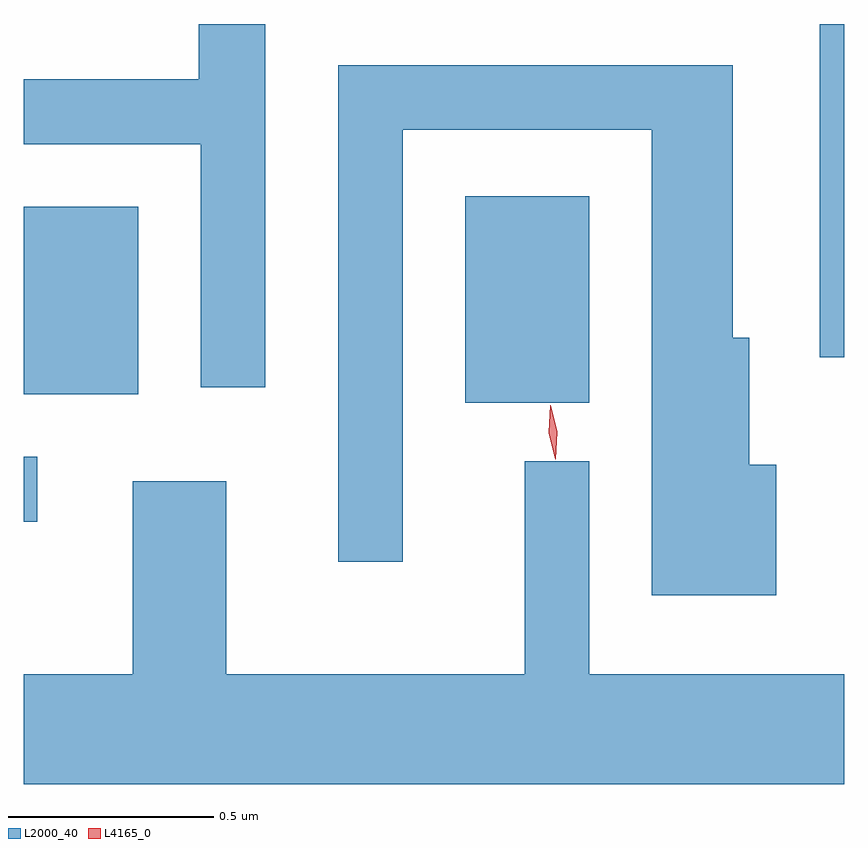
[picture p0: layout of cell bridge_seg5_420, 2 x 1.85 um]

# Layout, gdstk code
import gdstk
lib = gdstk.Library(unit=1e-6, precision=1e-09)
def R(c, l, rs):  # rectangles x0, y0, x1, y1
    for r in rs: c.add(gdstk.rectangle(r[:2], r[2:], *l))
def P(c, l, *ps):  # polygons
    for p in ps: c.add(gdstk.Polygon(p, *l))
L2000_40 = (2000, 40)
L4165_0 = (4165, 0)

bridge_seg5_420 = lib.new_cell('bridge_seg5_420')
R(bridge_seg5_420, L2000_40, [(506.435,1481.856,506.468,1482.014), (507.511,1482.146,507.814,1482.649), (506.435,1482.166,506.714,1482.624), (508.376,1482.256,508.435,1483.069)])
P(bridge_seg5_420, L2000_40, [(507.024,1483.069),(506.861,1483.069),(506.861,1482.934),(506.435,1482.934),(506.435,1482.776),(506.866,1482.776),(506.866,1482.183),(507.024,1482.183)],
  [(508.269,1481.994),(508.204,1481.994),(508.204,1482.304),(508.164,1482.304),(508.164,1482.969),(507.201,1482.969),(507.201,1481.758),(507.359,1481.758),(507.359,1482.811),(507.966,1482.811),(507.966,1481.676),(508.269,1481.676)],
  [(508.435,1481.484),(507.814,1481.484),(507.814,1482.003),(507.656,1482.003),(507.656,1481.484),(506.929,1481.484),(506.929,1481.954),(506.701,1481.954),(506.701,1481.484),(506.435,1481.484),(506.435,1481.216),(508.435,1481.216)])
P(bridge_seg5_420, L4165_0, [(507.731,1482.008),(507.715,1482.073),(507.719,1482.14),(507.719,1482.14),(507.72,1482.14),(507.735,1482.075),(507.732,1482.008),(507.732,1482.008)])

lib.write_gds('bridge_seg5_420.gds')
